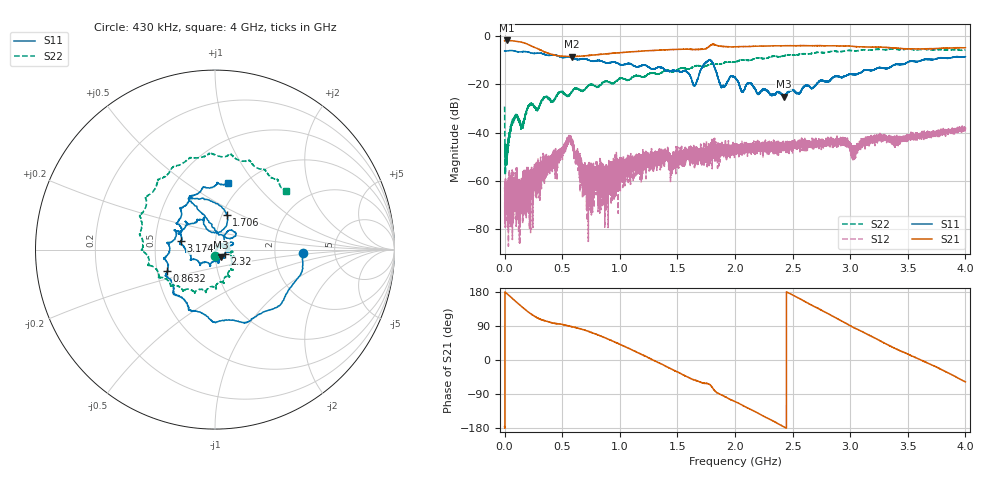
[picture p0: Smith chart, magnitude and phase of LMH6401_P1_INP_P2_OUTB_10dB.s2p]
!Keysight Technologies N9917A: A.08.18
!Date: Saturday, 27 May 2023 16:43:26
!Timezone: (GMT-07:00) Mountain Time (US & Canada)
!Model: N9917A
!Serial: MY52401314
!GPS Latitude:
!GPS Longitude:
!GPS TimeStamp: 0001-01-01 00:00:00Z
!GPS Seconds Since Last Read: 0
!CHECKSUM:0322258923
!Correction: S11(ON U)S21(ON U)S12(ON U)S22(ON U)
!S2P File: Measurements:S11,S21,S12,S22:
# Hz S DB R 50
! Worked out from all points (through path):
!   10000 points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, 430 kHz to 4 GHz, reference 50 ohm
!   highest |S21| = -1.86 dB at 20.03 MHz (marker M1); lowest = -8.6 dB at 581.6 MHz (marker M2)
!   lowest |S11| = -25.1 dB at 2.423 GHz (marker M3), VSWR 1.12, Z = 53.3 - j4.7 ohm
!   |S11| at or under -10 dB: 727.1 MHz to 730.8 MHz (3.72 MHz wide, 0.51 % of centre); 735.1 MHz to 1.772 GHz (1.037 GHz wide, 82.7 % of centre); 1.789 GHz to 3.622 GHz (1.834 GHz wide, 67.8 % of centre)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
!   |S22| runs from -57.3 to -5.3 dB; largest |S21 - S12| = 0.81
!   S11 on the Smith chart (normalised r, x): 430 kHz: 2.90, -0.15; 863.2 MHz: 0.57, -0.15; 1.706 GHz: 1.05, +0.42; 2.32 GHz: 1.11, -0.06; 3.174 GHz: 0.68, +0.07; 4 GHz: 0.87, +0.74
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429997  -6.22 -2.3  -1.97 -175.9  -63.20 -8.2  -29.21 -90.7
2.002985e7  -6.20 -5.7  -1.86 175.3  -61.83 60.4  -46.79 -57.9
9.242931e7  -6.32 -20.4  -2.15 155.7  -62.77 53.1  -33.63 52.9
1.524289e8  -6.54 -35.9  -2.63 140.1  -60.96 118.6  -37.42 47.0
2.152284e8  -6.80 -47.0  -3.78 124.6  -65.24 81.3  -28.53 43.3
3.120277e8  -7.12 -67.6  -5.80 107.4  -58.45 55.9  -28.00 25.5
5.816256e8  -8.98 -114.4  -8.57 88.4  -42.96 -52.4  -23.28 0.2
6.67225e8  -9.64 -130.7  -8.33 81.3  -58.82 -102.2  -22.60 3.8
8.632235e8  -10.74 -156.1  -7.49 59.8  -58.08 110.2  -19.03 -23.7
1.33362e9  -12.88 136.2  -5.86 -6.8  -48.61 -45.9  -15.71 -69.5
1.648018e9  -20.62 89.8  -5.58 -52.7  -46.59 -104.4  -12.58 -102.7
1.705617e9  -13.87 71.5  -5.54 -59.2  -48.66 -88.3  -12.49 -103.4
1.790017e9  -10.10 118.0  -3.81 -67.3  -47.86 -112.8  -11.57 -115.1
1.893616e9  -20.70 63.0  -4.32 -93.5  -48.38 -113.9  -11.29 -125.7
2.000415e9  -17.07 51.5  -4.48 -109.6  -46.24 -135.4  -10.72 -135.3
2.320413e9  -24.55 -24.7  -4.10 -159.3  -45.44 -167.9  -8.45 -166.4
2.423212e9  -25.10 -52.1  -4.07 -176.1  -44.48 166.1  -8.25 -176.9
2.66681e9  -21.70 -118.3  -4.05 144.5  -44.52 147.4  -7.26 159.4
3.031607e9  -15.78 -174.6  -4.34 85.4  -48.03 107.4  -6.12 125.9
3.174006e9  -14.15 166.1  -4.62 64.0  -43.20 109.3  -5.80 111.4
3.333605e9  -13.21 148.5  -4.81 39.0  -42.80 77.6  -5.60 95.3
4e9  -8.56 78.6  -4.89 -57.7  -38.77 7.7  -5.71 39.5
